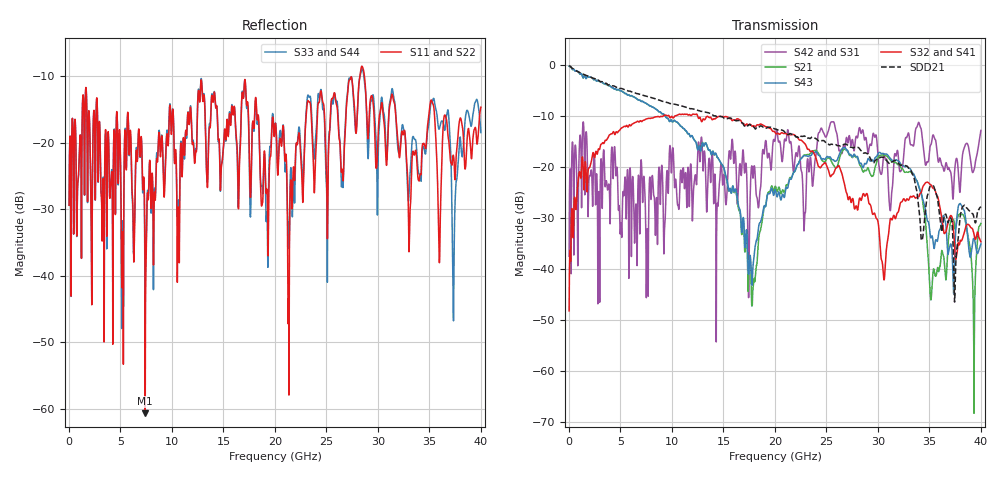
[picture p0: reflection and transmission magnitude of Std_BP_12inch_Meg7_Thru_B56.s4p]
!! MODELNAME: Std_BP_12inch_Meg7_Thru_B56.s4p
!! COPYRIGHT 2019 TE CONNECTIVITY - ALL INTERNATIONAL RIGHTS RESERVED
!! These models are covered by a licensing agreement that restricts their use and distribution.
!! If you have questions about the restrictions,
!! contact the appropriate organization within your company.
!! These models represent TE Connectivity parts only.
!! Due to internal design and materials, they should not be used for products manufactured
!! by companies other than TE Connectivity.
!! For more information:
!!  Email modeling@te.com
!!  Go to www.te.com/simulation
!!  Call the Product Information Center at 800-522-6752 in the United States
!!  Connect to Global Customer support at
!!  www.te.com/usa-en/customer-support/connect-with-us.html
!! SYSTEM DESCRIPTION: Daughtercard-Footprint-Right Angle Connector-Footprint-Daughtercard
!! PCB DESCRIPTION: DC: 133mil, Megtron7N, 6-6-6mil 2" traces BP: 230mil, Megtron7N, 6-6-6mil 8"
!! CONNECTOR DESCRIPTION: Next-Gen STRADA Whisper Traditional Backplane Connector
!! MODEL DESCRIPTION: Tyco Electronics System 4-port S-parameter
!! MODEL STATUS: Developmental
!! MODEL GEOMETRY: Channel Model
!! MODEL FREQUENCY RANGE: DC to 40 GHz in 10 MHz frequency steps
!! MODEL EDGE RATE LIMITATION: 12.5 ps (Using conservative 0.5/Fmax rule of thumb)
!! TIME-DOMAIN TRANSFORM CAUTIONS:
!! 1.) Do not simulate transient edge rates faster than the number listed above.  Edge rates faster than this number
!!  contain significant spectral content at frequencies above the model's highest frequency.
!! 2.) Even when simulating edge rates that are slower than the number listed above, be aware that the best time
!!  resolution possible with a direct iFFT is (1 / 2Fmax).  As a result, time resolution is typically not adequate
!!  for most time-domain simulations unless tricks such as windowing are used to minimize leakage and aliasing.
!! 3.) Because the model has a uniform frequency step, a direct iFFT will result in an impulse that that has a time
!!  length given by either (1 / Fstep) or (1 / 2Fstep), depending on the transform being used.  Care has been taken
!!  in selecting the frequency step to ensure a settled impulse response for the model.  Therefore, convolution with
!!  the model's impulse response should present no issues.  However, if directly concatenating s-parameter models
!!  in the frequency domain a user must either interpolate necessary interim frequencies or complete impulse response
!!  zero-padding.  Impulse response zero-padding is more difficult, but more accurate.
!! PORT DEFINITIONS:
!! Port  1  ----->  TX Side  B6  RX Side  <-----  Port  3
!! Port  2  ----->  TX Side  B5  RX Side  <-----  Port  4
# Hz S MA R 46
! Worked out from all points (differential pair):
!   4000 points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, 10 MHz to 40 GHz, reference 46 ohm
!   strongest paths, dB at 10 MHz, 10.01 GHz, 20.01 GHz, 30.01 GHz, 40 GHz:
!     S32: -48.2, -10.2, -13.3, -30.8, -34.7
!     S41: -48.2, -10.2, -13.3, -30.7, -34.7
!     S43: -0.3, -11.1, -24.4, -17.4, -35.1
!     S21: -0.3, -11.1, -23.8, -18.2, -31.1
!     S42: -37.5, -18.0, -14.7, -18.0, -12.8
!     S31: -37.5, -18.0, -14.7, -18.0, -12.8
!   taken as a pair (ports 3,1 in; 4,2 out), SDD21 dB: -0.2, -7.6, -12.6, -18.2, -27.8
!   lowest |S11| = -60.7 dB at 7.4 GHz (marker M1), VSWR 1.00, Z = 46 - j0.0713 ohm
!   |S11| at or under -10 dB: start of sweep to 28.25 GHz; 28.69 GHz to end of sweep
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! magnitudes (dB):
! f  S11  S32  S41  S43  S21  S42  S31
! 10 MHz  -29.4  -48.2  -48.2  -0.3  -0.3  -37.5  -37.5
! 7.4 GHz  -60.7  -10.7  -10.7  -7.4  -7.4  -26.8  -26.8
! 17.87 GHz  -16.8  -12.0  -12.0  -39.4  -43.8  -22.2  -21.3
! 23.84 GHz  -27.3  -17.6  -17.6  -17.2  -16.8  -19.6  -19.6
! 35.35 GHz  -14.2  -24.2  -24.2  -34.5  -40.7  -13.7  -13.7
! 37.37 GHz  -22.3  -33.1  -33.1  -44.8  -30.5  -23.8  -24.2
! 40 GHz  -14.7  -34.7  -34.7  -35.1  -31.1  -12.8  -12.8
